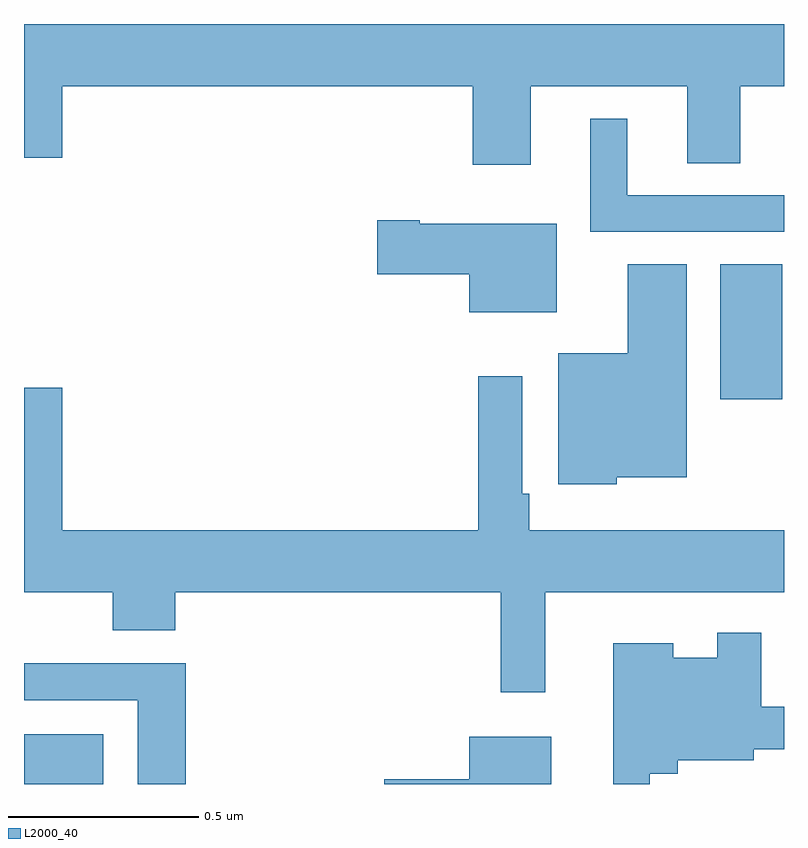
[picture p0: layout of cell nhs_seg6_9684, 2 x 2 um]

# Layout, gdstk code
import gdstk
lib = gdstk.Library(unit=1e-6, precision=1e-09)
def R(c, l, rs):  # rectangles x0, y0, x1, y1
    for r in rs: c.add(gdstk.rectangle(r[:2], r[2:], *l))
def P(c, l, *ps):  # polygons
    for p in ps: c.add(gdstk.Polygon(p, *l))
L2000_40 = (2000, 40)

nhs_seg6_9684 = lib.new_cell('nhs_seg6_9684')
R(nhs_seg6_9684, L2000_40, [(237,945.5,237.208,945.631), (238.832,946.512,238.996,946.868)])
P(nhs_seg6_9684, L2000_40, [(238.333,947.336),(238.745,947.336),(238.745,947.134),(238.885,947.134),(238.885,947.336),(239,947.336),(239,947.5),(237,947.5),(237,947.148),(237.1,947.148),(237.1,947.336),(238.181,947.336),(238.181,947.13),(238.333,947.13)],
  [(239,947.049),(238.588,947.049),(238.588,947.251),(238.49,947.251),(238.49,946.953),(239,946.953)],
  [(238.402,946.975),(238.042,946.975),(238.042,946.983),(237.93,946.983),(237.93,946.841),(238.172,946.841),(238.172,946.742),(238.402,946.742)],
  [(238.56,946.307),(238.744,946.307),(238.744,946.868),(238.589,946.868),(238.589,946.633),(238.406,946.633),(238.406,946.289),(238.56,946.289)],
  [(237,946.543),(237,946.004),(237.233,946.004),(237.233,945.905),(237.398,945.905),(237.398,946.004),(238.255,946.004),(238.255,945.741),(238.372,945.741),(238.372,946.004),(239,946.004),(239,946.168),(238.329,946.168),(238.329,946.264),(238.311,946.264),(238.311,946.573),(238.195,946.573),(238.195,946.168),(237.1,946.168),(237.1,946.543)],
  [(238.647,945.527),(238.721,945.527),(238.721,945.563),(238.921,945.563),(238.921,945.592),(239,945.592),(239,945.703),(238.94,945.703),(238.94,945.898),(238.824,945.898),(238.824,945.832),(238.708,945.832),(238.708,945.871),(238.55,945.871),(238.55,945.5),(238.647,945.5)],
  [(237.425,945.818),(237,945.818),(237,945.72),(237.299,945.72),(237.299,945.5),(237.425,945.5)],
  [(238.387,945.625),(238.172,945.625),(238.172,945.512),(237.948,945.512),(237.948,945.5),(238.387,945.5)])

lib.write_gds('nhs_seg6_9684.gds')
